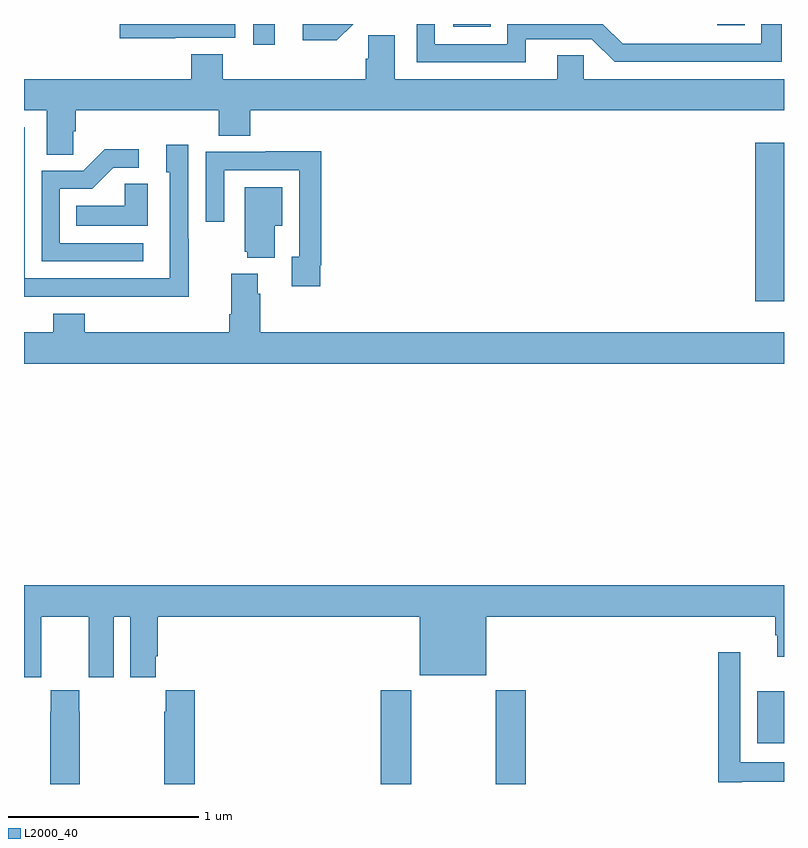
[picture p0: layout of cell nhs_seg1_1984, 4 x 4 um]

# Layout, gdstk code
import gdstk
lib = gdstk.Library(unit=1e-6, precision=1e-09)
def R(c, l, rs):  # rectangles x0, y0, x1, y1
    for r in rs: c.add(gdstk.rectangle(r[:2], r[2:], *l))
def P(c, l, *ps):  # polygons
    for p in ps: c.add(gdstk.Polygon(p, *l))
L2000_40 = (2000, 40)

nhs_seg1_1984 = lib.new_cell('nhs_seg1_1984')
R(nhs_seg1_1984, L2000_40, [(220.877,536.199,221.037,536.692), (221.482,536.199,221.642,536.692), (222.86,536.414,223,536.686), (222.848,538.74,223,539.575), (220.206,540.09,220.321,540.199), (221.259,540.185,221.457,540.199), (222.648,540.192,222.794,540.199)])
P(nhs_seg1_1984, L2000_40, [(221.641,540.12),(221.988,540.12),(222.108,540),(222.988,540),(222.988,540.199),(222.879,540.199),(222.879,540.096),(222.15,540.096),(222.047,540.199),(221.544,540.199),(221.544,540.093),(221.163,540.093),(221.163,540.199),(221.067,540.199),(221.067,539.997),(221.641,539.997)],
  [(220.732,540.199),(220.467,540.199),(220.467,540.113),(220.645,540.113)],
  [(219.797,540.126),(220.113,540.126),(220.113,540.199),(219.505,540.199),(219.505,540.125),(219.797,540.125)],
  [(219.258,539.635),(219.272,539.635),(219.272,539.744),(220.025,539.744),(220.025,539.611),(220.19,539.611),(220.19,539.744),(223,539.744),(223,539.908),(221.946,539.908),(221.946,540.035),(221.807,540.035),(221.807,539.908),(220.951,539.908),(220.951,540.14),(220.812,540.14),(220.812,540.017),(220.799,540.017),(220.799,539.908),(220.046,539.908),(220.046,540.041),(219.881,540.041),(219.881,539.908),(219,539.908),(219,539.744),(219.119,539.744),(219.119,539.512),(219.258,539.512)],
  [(219.867,539.069),(219.864,539.069),(219.864,539.563),(219.749,539.563),(219.749,539.418),(219.768,539.418),(219.768,538.86),(219.003,538.86),(219.003,539.655),(219,539.655),(219,538.764),(219.403,538.764),(219.403,538.763),(219.867,538.763)],
  [(219.628,539.046),(219.189,539.046),(219.189,539.331),(219.358,539.331),(219.469,539.442),(219.604,539.442),(219.604,539.54),(219.425,539.54),(219.312,539.427),(219.093,539.427),(219.093,538.95),(219.628,538.95)],
  [(220.558,538.93),(220.565,538.93),(220.565,539.528),(220.273,539.528),(220.273,539.526),(219.957,539.526),(219.957,539.157),(220.053,539.157),(220.053,539.43),(220.449,539.43),(220.449,538.974),(220.409,538.974),(220.409,538.818),(220.558,538.818)],
  [(219.652,539.357),(219.531,539.357),(219.531,539.242),(219.274,539.242),(219.274,539.138),(219.652,539.138)],
  [(220.321,539.138),(220.36,539.138),(220.36,539.341),(220.163,539.341),(220.163,539.001),(220.175,539.001),(220.175,538.97),(220.321,538.97)],
  [(223,538.576),(220.244,538.576),(220.244,538.778),(220.231,538.778),(220.231,538.885),(220.091,538.885),(220.091,538.672),(220.079,538.672),(220.079,538.576),(219.32,538.576),(219.32,538.675),(219.155,538.675),(219.155,538.576),(219,538.576),(219,538.412),(223,538.412)],
  [(219,536.76),(219.09,536.76),(219.09,536.872),(219.091,536.872),(219.091,537.08),(219.341,537.08),(219.341,536.872),(219.342,536.872),(219.342,536.76),(219.472,536.76),(219.472,537.08),(219.56,537.08),(219.56,536.76),(219.694,536.76),(219.694,536.872),(219.704,536.872),(219.704,537.08),(221.084,537.08),(221.084,536.771),(221.434,536.771),(221.434,537.08),(222.953,537.08),(222.953,536.982),(222.965,536.982),(222.965,536.868),(223,536.868),(223,537.244),(219,537.244)],
  [(222.778,536.21),(223,536.21),(223,536.314),(222.771,536.314),(222.771,536.893),(222.655,536.893),(222.655,536.208),(222.778,536.208)],
  [(219.294,536.579),(219.291,536.579),(219.291,536.692),(219.141,536.692),(219.141,536.579),(219.139,536.579),(219.139,536.199),(219.294,536.199)],
  [(219.899,536.692),(219.745,536.692),(219.745,536.579),(219.739,536.579),(219.739,536.199),(219.899,536.199)])

lib.write_gds('nhs_seg1_1984.gds')
